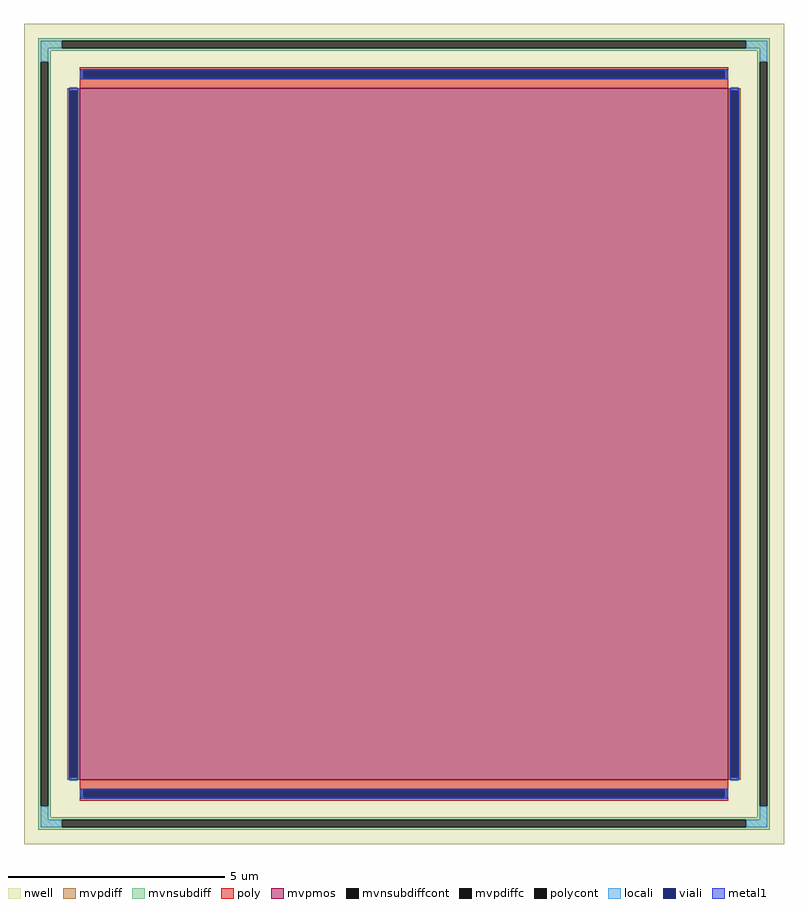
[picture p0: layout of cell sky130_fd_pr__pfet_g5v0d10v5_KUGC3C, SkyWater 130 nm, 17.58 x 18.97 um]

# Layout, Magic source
magic
tech sky130A
magscale 1 2
<< nwell >>
rect -1758 -1897 1758 1897
<< mvpmos >>
rect -1500 -1600 1500 1600
<< mvpdiff >>
rect -1558 1588 -1500 1600
rect -1558 -1588 -1546 1588
rect -1512 -1588 -1500 1588
rect -1558 -1600 -1500 -1588
rect 1500 1588 1558 1600
rect 1500 -1588 1512 1588
rect 1546 -1588 1558 1588
rect 1500 -1600 1558 -1588
<< mvpdiffc >>
rect -1546 -1588 -1512 1588
rect 1512 -1588 1546 1588
<< mvnsubdiff >>
rect -1692 1819 1692 1831
rect -1692 1785 -1584 1819
rect 1584 1785 1692 1819
rect -1692 1773 1692 1785
rect -1692 1723 -1634 1773
rect -1692 -1723 -1680 1723
rect -1646 -1723 -1634 1723
rect 1634 1723 1692 1773
rect -1692 -1773 -1634 -1723
rect 1634 -1723 1646 1723
rect 1680 -1723 1692 1723
rect 1634 -1773 1692 -1723
rect -1692 -1785 1692 -1773
rect -1692 -1819 -1584 -1785
rect 1584 -1819 1692 -1785
rect -1692 -1831 1692 -1819
<< mvnsubdiffcont >>
rect -1584 1785 1584 1819
rect -1680 -1723 -1646 1723
rect 1646 -1723 1680 1723
rect -1584 -1819 1584 -1785
<< poly >>
rect -1500 1681 1500 1697
rect -1500 1647 -1484 1681
rect 1484 1647 1500 1681
rect -1500 1600 1500 1647
rect -1500 -1647 1500 -1600
rect -1500 -1681 -1484 -1647
rect 1484 -1681 1500 -1647
rect -1500 -1697 1500 -1681
<< polycont >>
rect -1484 1647 1484 1681
rect -1484 -1681 1484 -1647
<< locali >>
rect -1680 1785 -1584 1819
rect 1584 1785 1680 1819
rect -1680 1723 -1646 1785
rect 1646 1723 1680 1785
rect -1500 1647 -1484 1681
rect 1484 1647 1500 1681
rect -1546 1588 -1512 1604
rect -1546 -1604 -1512 -1588
rect 1512 1588 1546 1604
rect 1512 -1604 1546 -1588
rect -1500 -1681 -1484 -1647
rect 1484 -1681 1500 -1647
rect -1680 -1785 -1646 -1723
rect 1646 -1785 1680 -1723
rect -1680 -1819 -1584 -1785
rect 1584 -1819 1680 -1785
<< viali >>
rect -1484 1647 1484 1681
rect -1546 -1588 -1512 1588
rect 1512 -1588 1546 1588
rect -1484 -1681 1484 -1647
<< metal1 >>
rect -1496 1681 1496 1687
rect -1496 1647 -1484 1681
rect 1484 1647 1496 1681
rect -1496 1641 1496 1647
rect -1552 1588 -1506 1600
rect -1552 -1588 -1546 1588
rect -1512 -1588 -1506 1588
rect -1552 -1600 -1506 -1588
rect 1506 1588 1552 1600
rect 1506 -1588 1512 1588
rect 1546 -1588 1552 1588
rect 1506 -1600 1552 -1588
rect -1496 -1647 1496 -1641
rect -1496 -1681 -1484 -1647
rect 1484 -1681 1496 -1647
rect -1496 -1687 1496 -1681
<< properties >>
string FIXED_BBOX -1663 -1802 1663 1802
string gencell sky130_fd_pr__pfet_g5v0d10v5
string library sky130
string parameters w 16.0 l 15.0 m 1 nf 1 diffcov 100 polycov 100 guard 1 glc 1 grc 1 gtc 1 gbc 1 tbcov 100 rlcov 100 topc 1 botc 1 poverlap 0 doverlap 1 lmin 0.50 wmin 0.42 compatible {sky130_fd_pr__pfet_01v8  sky130_fd_pr__pfet_01v8_lvt sky130_fd_pr__pfet_01v8_hvt  sky130_fd_pr__pfet_g5v0d10v5} full_metal 1 viasrc 100 viadrn 100 viagate 100 viagb 0 viagr 0 viagl 0 viagt 0
<< end >>
